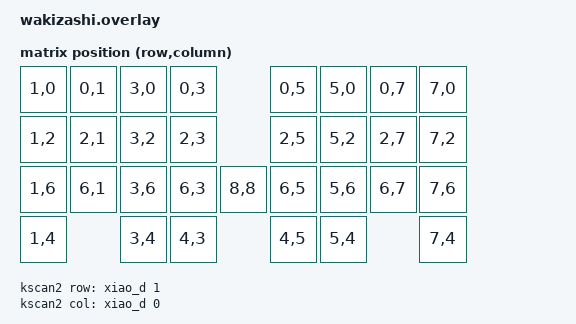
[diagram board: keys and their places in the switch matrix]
#include <dt-bindings/zmk/matrix_transform.h>
#include "wakizashi-layouts.dtsi"

/ {
    chosen {
        zmk,physical-layout = &wakizashi_physical_layout;
    };
};

/ {
    kscan0: kscan_composite {
        compatible = "zmk,kscan-composite";
        rows = <4>;
        columns = <9>;

        charlieplex {
            kscan = <&kscan1>;
        };

        matrix {
            kscan = <&kscan2>;
            row-offset = <8>; // ...and shift it to not overlap
			col-offset = <8>; // ...and shift it to not overlap
        };
    };

	kscan1: kscan_charlieplex {
        compatible = "zmk,kscan-gpio-charlieplex";

        gpios
	    	= <&xiao_d 7 GPIO_ACTIVE_HIGH>  // 0 - col0
            , <&xiao_d 3 GPIO_ACTIVE_HIGH>  // 1 - row0
            , <&xiao_d 4 GPIO_ACTIVE_HIGH>  // 2 - row1
            , <&xiao_d 8 GPIO_ACTIVE_HIGH>  // 3 - col1
            , <&xiao_d 6 GPIO_ACTIVE_HIGH>  // 4 - row3
            , <&xiao_d 9 GPIO_ACTIVE_HIGH>  // 5 - col2
            , <&xiao_d 5 GPIO_ACTIVE_HIGH> // 6 - row2
            , <&xiao_d 10 GPIO_ACTIVE_HIGH>  // 7 - col3
            ;
    };

	kscan2: kscan_matrix {
        compatible = "zmk,kscan-gpio-matrix";
        wakeup-source;
        diode-direction = "col2row";
        col-gpios
            = <&xiao_d 0 GPIO_ACTIVE_HIGH>
            ;
        row-gpios
            = <&xiao_d 1 (GPIO_ACTIVE_HIGH | GPIO_PULL_DOWN)>
            ;
    };
};



/ {
    default_transform: keymap_transform0 {
        compatible = "zmk,matrix-transform";
        columns = <9>; // Length of the "col-gpios" array
        rows = <4>; // Length of the "row-gpios" array
        map = <
        	RC(1,0) RC(0,1) RC(3,0) RC(0,3) 	  		RC(0,5) RC(5,0) RC(0,7) RC(7,0)
	    	RC(1,2) RC(2,1) RC(3,2) RC(2,3) 	  		RC(2,5) RC(5,2) RC(2,7) RC(7,2)
	    	RC(1,6) RC(6,1) RC(3,6) RC(6,3)  RC(8,8) 	RC(6,5) RC(5,6) RC(6,7) RC(7,6)
	    	RC(1,4) 	    RC(3,4) RC(4,3) 	 		RC(4,5) RC(5,4) 		RC(7,4)
        >;
    };
};
